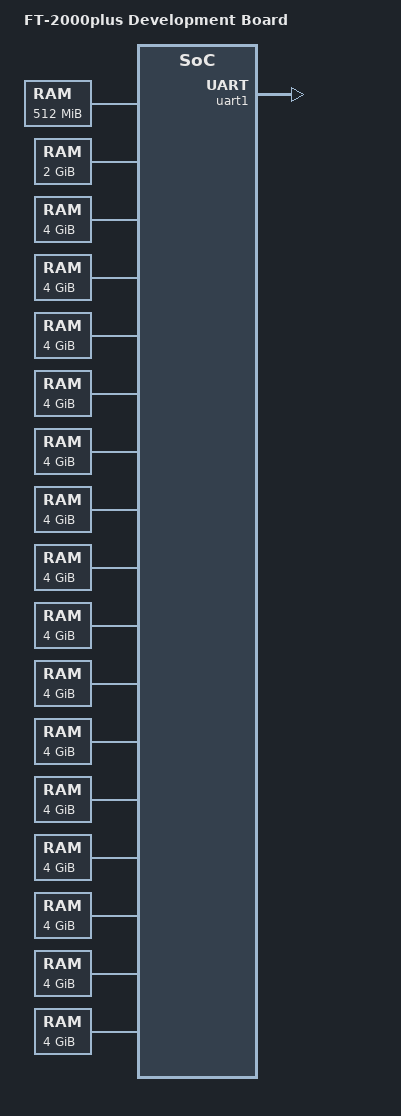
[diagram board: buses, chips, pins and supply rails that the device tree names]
// SPDX-License-Identifier: GPL-2.0
/*
 * DTS file for Phytium FT-2000plus devboard.
 *
 * Copyright (C) 2019, Phytium Technology Co., Ltd.
 */

/dts-v1/;
/memreserve/ 0x0000000080000000 0x0000000000010000;

#include "ft2000plus-SR-psci-soc.dtsi"

/ {
	model = "FT-2000plus Development Board";
	compatible = "phytium,ft-2000plus";

	chosen {
		linux,pci-probe-only = <1>;
	};

	/* NUMA Node-0 */
        memory@00 {
                device_type = "memory";
		/* 0 - 512MiB (512MiB)*/
                reg = <0x00000000 0x00000000 0x0 0x20000000>;
                numa-node-id = <0>;
        };
        memory@01 {
                device_type = "memory";
		/* 2GiB - 4GiB (2GiB) */
                reg = <0x00000000 0x80000000 0x0 0x80000000>;
                numa-node-id = <0>;
        };
        memory@02 {
                device_type = "memory";
		/* 512GiB - 516GiB (4GiB) */
                reg = <0x00000080 0x00000000 0x1 0x00000000>;
                numa-node-id = <0>;
        };
	/* NUMA Node-1 */
        memory@10 {
                device_type = "memory";
		/* 1024GiB - 1028GiB (4GiB) */
                reg = <0x00000100 0x00000000 0x1 0x00000000>;
                numa-node-id = <1>;
        };
        memory@11 {
                device_type = "memory";
		/* 1536GiB - 1540GiB (4GiB) */
                reg = <0x00000180 0x00000000 0x1 0x00000000>;
                numa-node-id = <1>;
        };
	/* NUMA Node-2 */
        memory@20 {
                device_type = "memory";
		/* 2048GiB - 2052GiB (4GiB) */
                reg = <0x00000200 0x00000000 0x1 0x00000000>;
                numa-node-id = <2>;
        };
        memory@21 {
                device_type = "memory";
		/* 2560GiB - 2564GiB (4GiB) */
                reg = <0x00000280 0x00000000 0x1 0x00000000>;
                numa-node-id = <2>;
        };
	/* NUMA Node-3 */
        memory@30 {
                device_type = "memory";
		/* 3072GiB - 3076GiB (4GiB) */
                reg = <0x00000300 0x00000000 0x1 0x00000000>;
                numa-node-id = <3>;
        };
        memory@31 {
                device_type = "memory";
		/* 3584GiB - 3588GiB (4GiB) */
                reg = <0x00000380 0x00000000 0x1 0x00000000>;
                numa-node-id = <3>;
        };
	/* NUMA Node-4 */
        memory@40 {
                device_type = "memory";
		/* 4096GiB - 4100GiB (4GiB) */
                reg = <0x00000400 0x00000000 0x1 0x00000000>;
                numa-node-id = <4>;
        };
        memory@41 {
                device_type = "memory";
		/* 4608GiB - 4612GiB (4GiB) */
                reg = <0x00000480 0x00000000 0x1 0x00000000>;
                numa-node-id = <4>;
        };
	/* NUMA Node-5 */
        memory@50 {
                device_type = "memory";
		/* 5120GiB - 5124GiB (4GiB) */
                reg = <0x00000500 0x00000000 0x1 0x00000000>;
                numa-node-id = <5>;
        };
        memory@51 {
                device_type = "memory";
		/* 5632GiB - 5636GiB (4GiB) */
                reg = <0x00000580 0x00000000 0x1 0x00000000>;
                numa-node-id = <5>;
        };
	/* NUMA Node-6 */
        memory@60 {
                device_type = "memory";
		/* 6144GiB - 6148GiB (4GiB) */
                reg = <0x00000600 0x00000000 0x1 0x00000000>;
                numa-node-id = <6>;
        };
        memory@61 {
                device_type = "memory";
		/* 6656GiB - 6660GiB (4GiB) */
                reg = <0x00000680 0x00000000 0x1 0x00000000>;
                numa-node-id = <6>;
        };
	/* NUMA Node-7 */
        memory@70 {
                device_type = "memory";
		/* 7168GiB - 7172GiB (4GiB) */
                reg = <0x00000700 0x00000000 0x1 0x00000000>;
                numa-node-id = <7>;
        };
        memory@71 {
                device_type = "memory";
		/* 7680GiB - 7684GiB (4GiB) */
                reg = <0x00000780 0x00000000 0x1 0x00000000>;
                numa-node-id = <7>;
        };

};

&uart1 {
	status = "ok";
};
